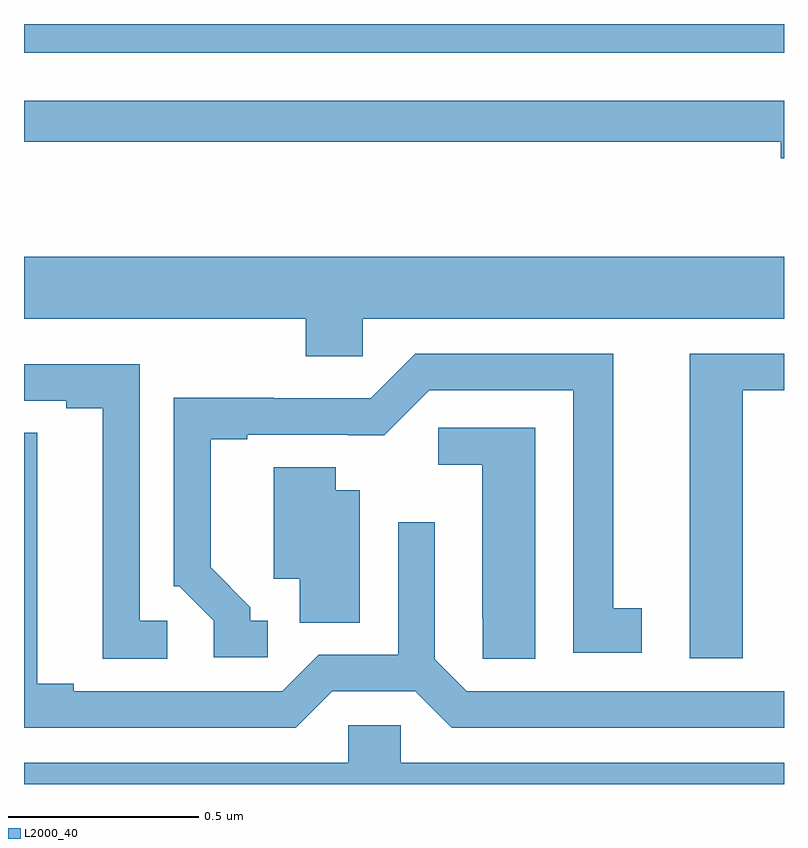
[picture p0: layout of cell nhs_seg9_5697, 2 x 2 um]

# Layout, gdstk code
import gdstk
lib = gdstk.Library(unit=1e-6, precision=1e-09)
def R(c, l, rs):  # rectangles x0, y0, x1, y1
    for r in rs: c.add(gdstk.rectangle(r[:2], r[2:], *l))
def P(c, l, *ps):  # polygons
    for p in ps: c.add(gdstk.Polygon(p, *l))
L2000_40 = (2000, 40)

nhs_seg9_5697 = lib.new_cell('nhs_seg9_5697')
R(nhs_seg9_5697, L2000_40, [(182,1226.424,184,1226.5)])
P(nhs_seg9_5697, L2000_40, [(184,1226.298),(182,1226.298),(182,1226.19),(183.992,1226.19),(183.992,1226.147),(184,1226.147)],
  [(182.892,1225.724),(184,1225.724),(184,1225.888),(182,1225.888),(182,1225.724),(182.741,1225.724),(182.741,1225.626),(182.892,1225.626)],
  [(182.641,1224.93),(182.596,1224.93),(182.596,1224.965),(182.491,1225.07),(182.491,1225.407),(182.587,1225.407),(182.587,1225.419),(182.852,1225.419),(182.852,1225.418),(182.948,1225.418),(183.066,1225.536),(183.446,1225.536),(183.446,1224.846),(183.625,1224.846),(183.625,1224.962),(183.55,1224.962),(183.55,1225.632),(183.03,1225.632),(182.913,1225.515),(182.657,1225.515),(182.657,1225.517),(182.394,1225.517),(182.394,1225.02),(182.409,1225.02),(182.499,1224.93),(182.499,1224.834),(182.641,1224.834)],
  [(183.892,1225.536),(184,1225.536),(184,1225.632),(183.752,1225.632),(183.752,1224.831),(183.892,1224.831)],
  [(182.377,1224.93),(182.304,1224.93),(182.304,1225.605),(182,1225.605),(182,1225.509),(182.111,1225.509),(182.111,1225.489),(182.207,1225.489),(182.207,1224.829),(182.377,1224.829)],
  [(183.346,1225.437),(183.09,1225.437),(183.09,1225.34),(183.206,1225.34),(183.206,1224.937),(183.207,1224.937),(183.207,1224.829),(183.346,1224.829)],
  [(182.811,1224.744),(183.029,1224.744),(183.125,1224.648),(184,1224.648),(184,1224.744),(183.165,1224.744),(183.081,1224.828),(183.081,1225.189),(182.985,1225.189),(182.985,1224.84),(182.775,1224.84),(182.679,1224.744),(182.131,1224.744),(182.131,1224.764),(182.035,1224.764),(182.035,1225.424),(182,1225.424),(182,1224.648),(182.715,1224.648)],
  [(182.884,1225.273),(182.821,1225.273),(182.821,1225.334),(182.657,1225.334),(182.657,1225.04),(182.726,1225.04),(182.726,1224.925),(182.884,1224.925)],
  [(184,1224.556),(182.991,1224.556),(182.991,1224.654),(182.853,1224.654),(182.853,1224.556),(182,1224.556),(182,1224.5),(184,1224.5)])

lib.write_gds('nhs_seg9_5697.gds')
